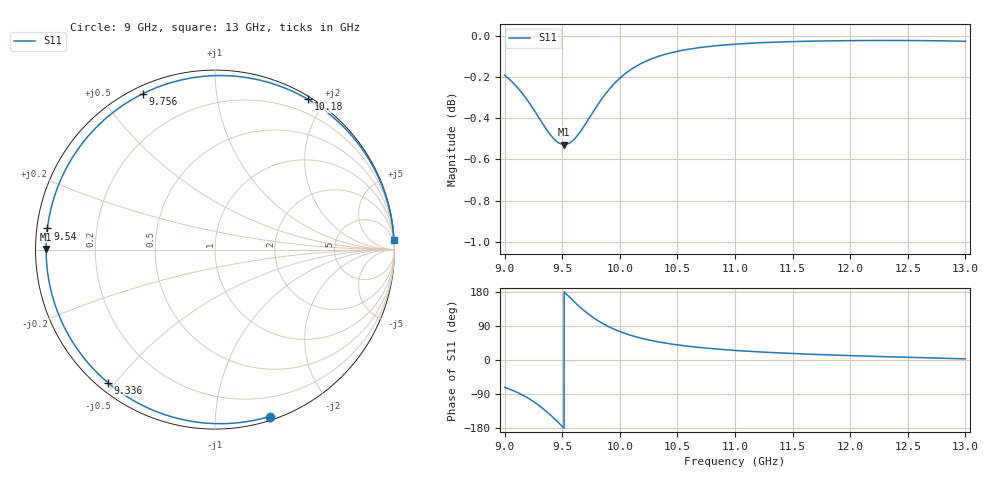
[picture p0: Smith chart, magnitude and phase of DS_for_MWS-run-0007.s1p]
! TOUCHSTONE file generated by CST DESIGN STUDIO
! Date and time: Tue Feb  4 14:16:02 2025
! Project name: C:\Work\MatlabApps\UnitCellOptimizationMatlab\CST\unitcell.cst
! Tree item: Tasks\Sweep1\SPara1\S-Parameters
! Header version: 2024
! Port assignment regex: !\s*Touchstone port\s*([0-9]+)\s*=\s*(CST MWS port|CST DES external port|CST DES block port)\s*(.+)\s* \(\"(.*)\"\)(\s*mode\s*([0-9]+))?.*
! Touchstone port assignment:
! Touchstone port 1 = CST DES external port 1 ("")
# GHz S MA R 50
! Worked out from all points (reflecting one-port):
!   4001 points, 9 GHz to 13 GHz, reference 50 ohm
!   lowest |S11| = -0.5 dB at 9.517 GHz (marker M1), VSWR 32.95, Z = 1.52 + j0.0858 ohm
!   phase of S11 starts at -72 deg and turns -285 deg over the sweep
!   S11 on the Smith chart (normalised r, x): 9 GHz: 0.03, -1.38; 9.336 GHz: 0.03, -0.48; 9.54 GHz: 0.03, +0.06; 9.756 GHz: 0.03, +0.64; 10.18 GHz: 0.03, +1.79; 13 GHz: 2, +38
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9  0.9783 -71.9
9.092  0.9729 -83.0
9.197  0.9648 -99.4
9.27  0.958 -113.6
9.336  0.9516 -128.9
9.381  0.9476 -140.5
9.427  0.9441 -153.3
9.464  0.9422 -164.2
9.5  0.9412 -175.0
9.517  0.9411 179.8
9.54  0.9413 172.8
9.593  0.9433 157.0
9.653  0.9475 140.1
9.704  0.9522 126.9
9.756  0.9572 114.9
9.806  0.962 104.6
9.862  0.967 94.5
10  0.9767 75.0
10.084  0.9809 66.1
10.175  0.9844 58.3
10.323  0.9884 48.5
10.5  0.9915 39.9
10.721  0.9938 32.2
11  0.9955 25.3
11.5  0.9969 17.1
12  0.9975 11.5
12.5  0.9975 7.1
13  0.9971 3.0
